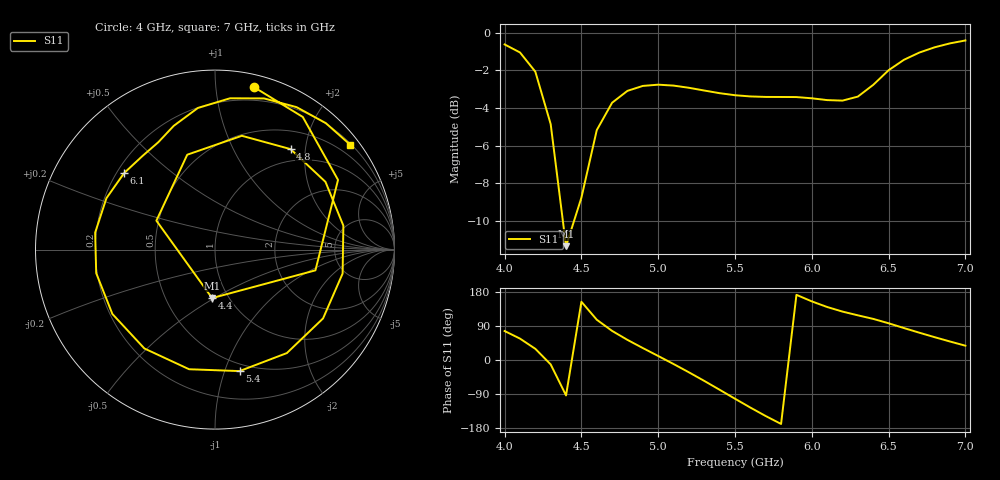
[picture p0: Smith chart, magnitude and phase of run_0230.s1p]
! Touchstone file exported from HFSS 2024.2.0
!  File:  C:/Users/wsak9/Desktop/Sim Fast/Widenad Patch/WP_AI_V1_sweep.aedt
!  Generated:  12:36:07 AM Oct 14, 2026
!  Design:  A1_model
!  Project:  WP_AI_V1_sweep
!  Setup:  Setup1
!  Solution:  Sweep
! Variables:
!  Air_gap = 1.95mm
!  Curve_Amp1 = 0.78
!  Curve_len1 = 1
!  Curve_pos = 12.1mm
!  Extra = 6.93mm
!  H_sub = 0.79mm
!  L_Patch = 20.2mm
!  L_Patch1 = 16.41mm
!  Sx = 0.93mm
!  Sy = 3.86mm
!  WS = 0.43mm
!  W_Patch = 15.47mm
!  W_Patch1 = 9.48mm
!Data is not renormalized
# GHz S MA
! Terminal data exported
! Port[1] = 1
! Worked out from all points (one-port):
!   31 points, 4 GHz to 7 GHz, reference per port
!   lowest |S11| = -11.4 dB at 4.4 GHz (marker M1), VSWR 1.74
!   |S11| at or under -10 dB: 4.379 GHz to 4.452 GHz (73.2 MHz wide, 1.66 % of centre)
!   S11 on the Smith chart (normalised r, x): 4 GHz: 0.09, +1.27; 4.4 GHz: 0.84, -0.49; 4.8 GHz: 0.79, +1.73; 5.4 GHz: 0.43, -1.12; 6.1 GHz: 0.23, +0.35; 7 GHz: 0.23, +2.91
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4  0.9307 76.5
4.1  0.8862 56.5
4.2  0.7878 29.5
4.3  0.5714 -11.7
4.4  0.2707 -93.4
4.5  0.3642 153.7
4.6  0.5508 106.3
4.7  0.6515 76.7
4.8  0.7006 53.0
4.9  0.722 31.5
5  0.7275 10.6
5.1  0.7234 -10.6
5.2  0.7138 -32.5
5.3  0.7019 -55.2
5.4  0.6906 -78.6
5.5  0.682 -102.2
5.6  0.677 -125.5
5.7  0.6749 -147.9
5.8  0.6747 -168.8
5.9  0.6744 171.9
6  0.6693 154.7
6.1  0.662 139.9
6.3  0.6763 117.9
6.5  0.7948 96.9
6.6  0.8473 84.3
6.7  0.8855 72.0
6.8  0.9146 60.2
7  0.9537 37.7
